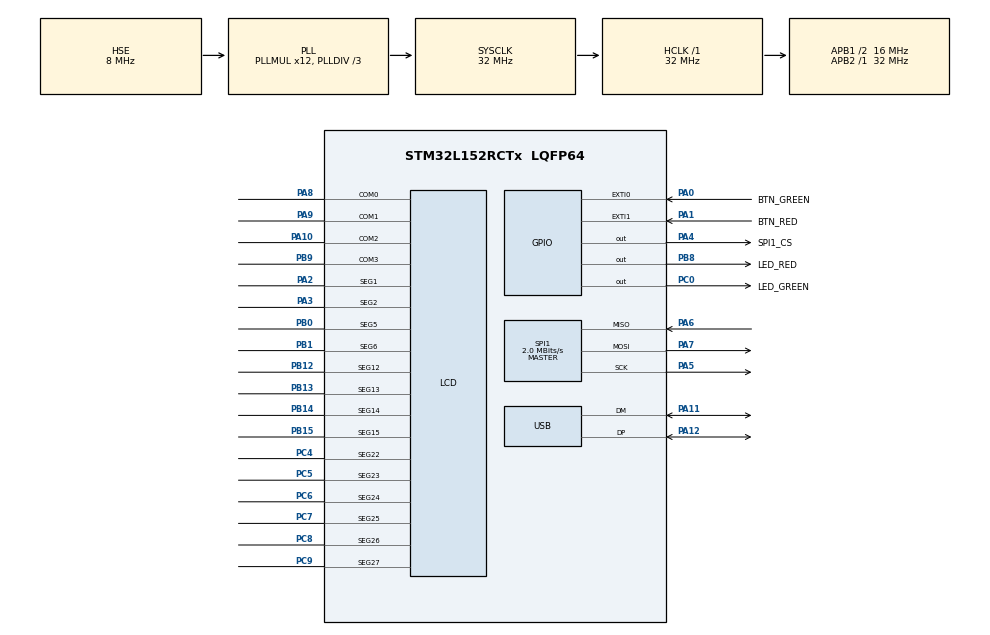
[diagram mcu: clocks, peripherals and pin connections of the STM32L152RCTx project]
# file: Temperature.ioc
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LCD.Bias=LCD_BIAS_1_3
LCD.Contrast=LCD_CONTRASTLEVEL_0
LCD.Prescaler=LCD_PRESCALER_16
Mcu.Family=STM32L1
Mcu.Name=STM32L152RCTx
Mcu.Package=LQFP64
NVIC.EXTI0_IRQn=true\:0\:0\:false\:false\:true\:true\:true\:true
NVIC.EXTI1_IRQn=true\:0\:0\:false\:false\:true\:true\:true\:true
NVIC.LCD_IRQn=true\:0\:0\:false\:false\:true\:true\:false\:true
NVIC.PriorityGroup=NVIC_PRIORITYGROUP_4
NVIC.RCC_IRQn=true\:0\:0\:false\:false\:true\:true\:false\:true
NVIC.SPI1_IRQn=true\:0\:0\:false\:false\:true\:true\:true\:true
NVIC.TIM2_IRQn=true\:0\:0\:false\:false\:true\:true\:true\:true
NVIC.TIM7_IRQn=true\:0\:0\:false\:false\:true\:true\:true\:true
NVIC.USB_HP_IRQn=true\:0\:0\:false\:false\:true\:true\:true\:true
NVIC.USB_LP_IRQn=true\:0\:0\:false\:false\:true\:true\:true\:true
PA0-WKUP1.GPIO_Label=BTN_GREEN
PA0-WKUP1.GPIO_ModeDefaultEXTI=GPIO_MODE_IT_FALLING
PA0-WKUP1.GPIO_PuPd=GPIO_PULLUP
PA0-WKUP1.Signal=GPXTI0
PA1.GPIO_Label=BTN_RED
PA1.GPIO_ModeDefaultEXTI=GPIO_MODE_IT_FALLING
PA1.GPIO_PuPd=GPIO_PULLUP
PA1.Signal=GPXTI1
PA10.Mode=1/4 Duty Cycle
PA10.Signal=LCD_COM2
PA11.Mode=Device
PA11.Signal=USB_DM
PA12.Mode=Device
PA12.Signal=USB_DP
PA2.Mode=SEG1
PA2.Signal=LCD_SEG1
PA3.Mode=SEG2
PA3.Signal=LCD_SEG2
PA4.GPIO_Label=SPI1_CS
PA4.GPIO_Speed=GPIO_SPEED_FREQ_VERY_HIGH
PA4.PinState=GPIO_PIN_SET
PA4.Signal=GPIO_Output
PA5.Mode=Full_Duplex_Master
PA5.Signal=SPI1_SCK
PA6.Mode=Full_Duplex_Master
PA6.Signal=SPI1_MISO
PA7.Mode=Full_Duplex_Master
PA7.Signal=SPI1_MOSI
PA8.Mode=1/4 Duty Cycle
PA8.Signal=LCD_COM0
PA9.Mode=1/4 Duty Cycle
PA9.Signal=LCD_COM1
PB0.Mode=SEG5
PB0.Signal=LCD_SEG5
PB1.Mode=SEG6
PB1.Signal=LCD_SEG6
PB12.Mode=SEG12
PB12.Signal=LCD_SEG12
PB13.Mode=SEG13
PB13.Signal=LCD_SEG13
PB14.Mode=SEG14
PB14.Signal=LCD_SEG14
PB15.Mode=SEG15
PB15.Signal=LCD_SEG15
PB8.GPIO_Label=LED_RED
PB8.Signal=GPIO_Output
PB9.Mode=1/4 Duty Cycle
PB9.Signal=LCD_COM3
PC0.GPIO_Label=LED_GREEN
PC0.Signal=GPIO_Output
PC14-OSC32_IN.Mode=LSE-External-Oscillator
PC14-OSC32_IN.Signal=RCC_OSC32_IN
PC15-OSC32_OUT.Mode=LSE-External-Oscillator
PC15-OSC32_OUT.Signal=RCC_OSC32_OUT
PC4.Mode=SEG22
PC4.Signal=LCD_SEG22
PC5.Mode=SEG23
PC5.Signal=LCD_SEG23
PC6.Mode=SEG24
PC6.Signal=LCD_SEG24
PC7.Mode=SEG25
PC7.Signal=LCD_SEG25
PC8.Mode=SEG26
PC8.Signal=LCD_SEG26
PC9.Mode=SEG27
PC9.Signal=LCD_SEG27
PH0-OSC_IN.Mode=HSE-External-Oscillator
PH0-OSC_IN.Signal=RCC_OSC_IN
PH1-OSC_OUT.Mode=HSE-External-Oscillator
PH1-OSC_OUT.Signal=RCC_OSC_OUT
ProjectManager.HeapSize=0x200
ProjectManager.StackSize=0x400
ProjectManager.TargetToolchain=CMake
RCC.48MHZClocksFreq_Value=48000000
RCC.AHBFreq_Value=32000000
RCC.APB1CLKDivider=RCC_HCLK_DIV2
RCC.APB1Freq_Value=16000000
RCC.APB1TimFreq_Value=32000000
RCC.APB2Freq_Value=32000000
RCC.APB2TimFreq_Value=32000000
RCC.HCLKFreq_Value=32000000
RCC.HSE_VALUE=8000000
RCC.HSI_VALUE=16000000
RCC.MSIClockRange=RCC_MSIRANGE_6
RCC.MSI_VALUE=4194000
RCC.PLLDIV=RCC_PLL_DIV3
RCC.PLLMUL=RCC_PLL_MUL12
RCC.RCC_RTC_Clock_Source_FROM_HSE=RCC_RTCCLKSOURCE_HSE_DIV16
RCC.RTCClockSelectionVirtual=RCC_RTCCLKSOURCE_LSE
RCC.SYSCLKFreq_VALUE=32000000
RCC.SYSCLKSource=RCC_SYSCLKSOURCE_PLLCLK
RCC.VCOOutputFreq_Value=96000000
RTC.Date=15
RTC.Format=RTC_FORMAT_BCD
RTC.Hours=13
RTC.Minutes=30
RTC.Month=RTC_MONTH_DECEMBER
RTC.WeekDay=RTC_WEEKDAY_SUNDAY
RTC.Year=25
SPI1.BaudRatePrescaler=SPI_BAUDRATEPRESCALER_16
SPI1.CalculateBaudRate=2.0 MBits/s
SPI1.Direction=SPI_DIRECTION_2LINES
SPI1.Mode=SPI_MODE_MASTER
SPI1.VirtualType=VM_MASTER
TIM2.Period=500
TIM2.Prescaler=32000-1
TIM7.AutoReloadPreload=TIM_AUTORELOAD_PRELOAD_ENABLE
TIM7.Period=1000
TIM7.Prescaler=32000
TIM7.TIM_MasterOutputTrigger=TIM_TRGO_ENABLE
USB_DEVICE.CLASS_NAME_FS=CDC
USB_DEVICE.VirtualMode=Cdc
USB_DEVICE.VirtualModeFS=Cdc_FS
VP_FATFS_VS_Generic.Mode=User_defined
VP_RTC_VS_RTC_Activate.Mode=RTC_Enabled
VP_RTC_VS_RTC_Calendar.Mode=RTC_Calendar
VP_TIM2_VS_ClockSourceINT.Mode=Internal
VP_TIM7_VS_ClockSourceINT.Mode=Enable_Timer
VP_USB_DEVICE_VS_USB_DEVICE_CDC_FS.Mode=CDC_FS
board=custom

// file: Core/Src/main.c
/* USER CODE BEGIN Header */
/**
  ******************************************************************************
  * @file           : main.c
  * @brief          : Main program body
  ******************************************************************************
  * @attention
  *
  * Copyright (c) 2025 STMicroelectronics.
  * All rights reserved.
  *
  * This software is licensed under terms that can be found in the LICENSE file
  * in the root directory of this software component.
  * If no LICENSE file comes with this software, it is provided AS-IS.
  *
  ******************************************************************************
  */
/* USER CODE END Header */
#include "main.h"
#include "fatfs.h"
#include "usb_device.h"

/* USER CODE BEGIN Includes */
#include "usbd_cdc.h"
#include "display.h"
#include "menu.h"
#include "clock.h"
#include "ee.h"
#include "spi_eeprom.h"
/* USER CODE END Includes */

/* USER CODE BEGIN PD */
#define USB_BUFLEN 512
/* USER CODE END PD */

LCD_HandleTypeDef hlcd;

RTC_HandleTypeDef hrtc;

SPI_HandleTypeDef hspi1;

TIM_HandleTypeDef htim2;
TIM_HandleTypeDef htim7;

/* USER CODE BEGIN PV */
uint8_t usbTxBuf[USB_BUFLEN];
uint16_t usbTxBufLen;

uint8_t usbRxBuf[USB_BUFLEN];
uint16_t usbRxBufLen;
uint8_t usbRxFlag = 0;
/* USER CODE END PV */

void SystemClock_Config(void);
static void MX_GPIO_Init(void);
static void MX_SPI1_Init(void);
static void MX_LCD_Init(void);
static void MX_TIM7_Init(void);
static void MX_RTC_Init(void);
static void MX_TIM2_Init(void);

/* USER CODE BEGIN 0 */
RTC_TimeTypeDef myTime;
RTC_DateTypeDef myDate;
uint32_t ID = 0;
uint8_t buffer[512];
uint8_t RxData[512];
bool isPressed = false;
uint32_t startPage = 0;
/* USER CODE END 0 */

int main(void)
{

  /* MCU Configuration--------------------------------------------------------*/

  /* Reset of all peripherals, Initializes the Flash interface and the Systick. */
  HAL_Init();

  /* Configure the system clock */
  SystemClock_Config();

  /* Initialize all configured peripherals */
  MX_GPIO_Init();
  MX_SPI1_Init();
  MX_LCD_Init();
  MX_USB_DEVICE_Init();
  MX_FATFS_Init();
  MX_TIM7_Init();
  MX_RTC_Init();
  MX_TIM2_Init();
  /* USER CODE BEGIN 2 */
  //initTime(hrtc);
  //initDisplay(hlcd);
  initMenu();
  HAL_TIM_Base_Start_IT(&htim2);
  ID = W25X_ReadID();
  /* USER CODE END 2 */

  /* Infinite loop */
  while (1)
  {

    /* USER CODE BEGIN 3 */
    if (usbRxFlag && usbRxBufLen) {
      uint32_t timeNowMS = HAL_GetTick();
      usbTxBufLen = snprintf((char*) usbTxBuf, USB_BUFLEN, "[%02lu:%02lu] %u\r\n", (timeNowMS/60000),(timeNowMS/1000) % 60, usbRxBufLen);
      CDC_Transmit_FS(usbTxBuf, usbTxBufLen);
      usbRxFlag = 0;
      usbRxBufLen = 0;
    }
    //testPress();
    if(isPressed) {
      W25X_ReadFast(startPage,0,512, RxData);
      usbTxBufLen = snprintf((char*) usbTxBuf, USB_BUFLEN, "%s", RxData);
      CDC_Transmit_FS(usbTxBuf, usbTxBufLen);
      if (startPage > 2048) {
        isPressed = false;
        startPage = 0;
        HAL_Delay(4000);
      }
      startPage++;
    }
  }
  /* USER CODE END 3 */
}

void SystemClock_Config(void)
{
  RCC_OscInitTypeDef RCC_OscInitStruct = {0};
  RCC_ClkInitTypeDef RCC_ClkInitStruct = {0};
  RCC_PeriphCLKInitTypeDef PeriphClkInit = {0};

  /** Configure the main internal regulator output voltage
  */
  __HAL_PWR_VOLTAGESCALING_CONFIG(PWR_REGULATOR_VOLTAGE_SCALE1);

  /** Initializes the RCC Oscillators according to the specified parameters
  * in the RCC_OscInitTypeDef structure.
  */
  RCC_OscInitStruct.OscillatorType = RCC_OSCILLATORTYPE_HSE|RCC_OSCILLATORTYPE_LSE;
  RCC_OscInitStruct.HSEState = RCC_HSE_ON;
  RCC_OscInitStruct.LSEState = RCC_LSE_ON;
  RCC_OscInitStruct.PLL.PLLState = RCC_PLL_ON;
  RCC_OscInitStruct.PLL.PLLSource = RCC_PLLSOURCE_HSE;
  RCC_OscInitStruct.PLL.PLLMUL = RCC_PLL_MUL12;
  RCC_OscInitStruct.PLL.PLLDIV = RCC_PLL_DIV3;
  if (HAL_RCC_OscConfig(&RCC_OscInitStruct) != HAL_OK)
  {
    Error_Handler();
  }

  /** Initializes the CPU, AHB and APB buses clocks
  */
  RCC_ClkInitStruct.ClockType = RCC_CLOCKTYPE_HCLK|RCC_CLOCKTYPE_SYSCLK
                              |RCC_CLOCKTYPE_PCLK1|RCC_CLOCKTYPE_PCLK2;
  RCC_ClkInitStruct.SYSCLKSource = RCC_SYSCLKSOURCE_PLLCLK;
  RCC_ClkInitStruct.AHBCLKDivider = RCC_SYSCLK_DIV1;
  RCC_ClkInitStruct.APB1CLKDivider = RCC_HCLK_DIV2;
  RCC_ClkInitStruct.APB2CLKDivider = RCC_HCLK_DIV1;

  if (HAL_RCC_ClockConfig(&RCC_ClkInitStruct, FLASH_LATENCY_1) != HAL_OK)
  {
    Error_Handler();
  }
  PeriphClkInit.PeriphClockSelection = RCC_PERIPHCLK_RTC|RCC_PERIPHCLK_LCD;
  PeriphClkInit.RTCClockSelection = RCC_RTCCLKSOURCE_LSE;
  PeriphClkInit.LCDClockSelection = RCC_RTCCLKSOURCE_LSE;

  if (HAL_RCCEx_PeriphCLKConfig(&PeriphClkInit) != HAL_OK)
  {
    Error_Handler();
  }
}

static void MX_LCD_Init(void)
{

  hlcd.Instance = LCD;
  hlcd.Init.Prescaler = LCD_PRESCALER_16;
  hlcd.Init.Divider = LCD_DIVIDER_16;
  hlcd.Init.Duty = LCD_DUTY_1_4;
  hlcd.Init.Bias = LCD_BIAS_1_3;
  hlcd.Init.VoltageSource = LCD_VOLTAGESOURCE_INTERNAL;
  hlcd.Init.Contrast = LCD_CONTRASTLEVEL_0;
  hlcd.Init.DeadTime = LCD_DEADTIME_0;
  hlcd.Init.PulseOnDuration = LCD_PULSEONDURATION_0;
  hlcd.Init.MuxSegment = LCD_MUXSEGMENT_DISABLE;
  hlcd.Init.BlinkMode = LCD_BLINKMODE_OFF;
  hlcd.Init.BlinkFrequency = LCD_BLINKFREQUENCY_DIV8;
  if (HAL_LCD_Init(&hlcd) != HAL_OK)
  {
    Error_Handler();
  }

}

static void MX_RTC_Init(void)
{

  RTC_TimeTypeDef sTime = {0};
  RTC_DateTypeDef sDate = {0};

  /** Initialize RTC Only
  */
  hrtc.Instance = RTC;
  hrtc.Init.HourFormat = RTC_HOURFORMAT_24;
  hrtc.Init.AsynchPrediv = 127;
  hrtc.Init.SynchPrediv = 255;
  hrtc.Init.OutPut = RTC_OUTPUT_DISABLE;
  hrtc.Init.OutPutPolarity = RTC_OUTPUT_POLARITY_HIGH;
  hrtc.Init.OutPutType = RTC_OUTPUT_TYPE_OPENDRAIN;
  if (HAL_RTC_Init(&hrtc) != HAL_OK)
  {
    Error_Handler();
  }

  /** Initialize RTC and set the Time and Date
  */
  sTime.Hours = 0x13;
  sTime.Minutes = 0x30;
  sTime.Seconds = 0x0;
  sTime.DayLightSaving = RTC_DAYLIGHTSAVING_NONE;
  sTime.StoreOperation = RTC_STOREOPERATION_RESET;
  if (HAL_RTC_SetTime(&hrtc, &sTime, RTC_FORMAT_BCD) != HAL_OK)
  {
    Error_Handler();
  }
  sDate.WeekDay = RTC_WEEKDAY_SUNDAY;
  sDate.Month = RTC_MONTH_DECEMBER;
  sDate.Date = 0x15;
  sDate.Year = 0x25;

  if (HAL_RTC_SetDate(&hrtc, &sDate, RTC_FORMAT_BCD) != HAL_OK)
  {
    Error_Handler();
  }

}

static void MX_SPI1_Init(void)
{

  /* SPI1 parameter configuration*/
  hspi1.Instance = SPI1;
  hspi1.Init.Mode = SPI_MODE_MASTER;
  hspi1.Init.Direction = SPI_DIRECTION_2LINES;
  hspi1.Init.DataSize = SPI_DATASIZE_8BIT;
  hspi1.Init.CLKPolarity = SPI_POLARITY_LOW;
  hspi1.Init.CLKPhase = SPI_PHASE_1EDGE;
  hspi1.Init.NSS = SPI_NSS_SOFT;
  hspi1.Init.BaudRatePrescaler = SPI_BAUDRATEPRESCALER_16;
  hspi1.Init.FirstBit = SPI_FIRSTBIT_MSB;
  hspi1.Init.TIMode = SPI_TIMODE_DISABLE;
  hspi1.Init.CRCCalculation = SPI_CRCCALCULATION_DISABLE;
  hspi1.Init.CRCPolynomial = 10;
  if (HAL_SPI_Init(&hspi1) != HAL_OK)
  {
    Error_Handler();
  }

}

static void MX_TIM2_Init(void)
{

  TIM_ClockConfigTypeDef sClockSourceConfig = {0};
  TIM_MasterConfigTypeDef sMasterConfig = {0};

  htim2.Instance = TIM2;
  htim2.Init.Prescaler = 32000-1;
  htim2.Init.CounterMode = TIM_COUNTERMODE_UP;
  htim2.Init.Period = 500;
  htim2.Init.ClockDivision = TIM_CLOCKDIVISION_DIV1;
  htim2.Init.AutoReloadPreload = TIM_AUTORELOAD_PRELOAD_DISABLE;
  if (HAL_TIM_Base_Init(&htim2) != HAL_OK)
  {
    Error_Handler();
  }
  sClockSourceConfig.ClockSource = TIM_CLOCKSOURCE_INTERNAL;
  if (HAL_TIM_ConfigClockSource(&htim2, &sClockSourceConfig) != HAL_OK)
  {
    Error_Handler();
  }
  sMasterConfig.MasterOutputTrigger = TIM_TRGO_RESET;
  sMasterConfig.MasterSlaveMode = TIM_MASTERSLAVEMODE_DISABLE;
  if (HAL_TIMEx_MasterConfigSynchronization(&htim2, &sMasterConfig) != HAL_OK)
  {
    Error_Handler();
  }

}

static void MX_TIM7_Init(void)
{

  TIM_MasterConfigTypeDef sMasterConfig = {0};

  htim7.Instance = TIM7;
  htim7.Init.Prescaler = 32000;
  htim7.Init.CounterMode = TIM_COUNTERMODE_UP;
  htim7.Init.Period = 1000;
  htim7.Init.AutoReloadPreload = TIM_AUTORELOAD_PRELOAD_ENABLE;
  if (HAL_TIM_Base_Init(&htim7) != HAL_OK)
  {
    Error_Handler();
  }
  sMasterConfig.MasterOutputTrigger = TIM_TRGO_ENABLE;
  sMasterConfig.MasterSlaveMode = TIM_MASTERSLAVEMODE_DISABLE;
  if (HAL_TIMEx_MasterConfigSynchronization(&htim7, &sMasterConfig) != HAL_OK)
  {
    Error_Handler();
  }

}

static void MX_GPIO_Init(void)
{
  GPIO_InitTypeDef GPIO_InitStruct = {0};

  /* GPIO Ports Clock Enable */
  __HAL_RCC_GPIOC_CLK_ENABLE();
  __HAL_RCC_GPIOH_CLK_ENABLE();
  __HAL_RCC_GPIOA_CLK_ENABLE();
  __HAL_RCC_GPIOB_CLK_ENABLE();

  /*Configure GPIO pin Output Level */
  HAL_GPIO_WritePin(LED_GREEN_GPIO_Port, LED_GREEN_Pin, GPIO_PIN_RESET);

  /*Configure GPIO pin Output Level */
  HAL_GPIO_WritePin(SPI1_CS_GPIO_Port, SPI1_CS_Pin, GPIO_PIN_SET);

  /*Configure GPIO pin Output Level */
  HAL_GPIO_WritePin(LED_RED_GPIO_Port, LED_RED_Pin, GPIO_PIN_RESET);

  /*Configure GPIO pin : LED_GREEN_Pin */
  GPIO_InitStruct.Pin = LED_GREEN_Pin;
  GPIO_InitStruct.Mode = GPIO_MODE_OUTPUT_PP;
  GPIO_InitStruct.Pull = GPIO_NOPULL;
  GPIO_InitStruct.Speed = GPIO_SPEED_FREQ_LOW;
  HAL_GPIO_Init(LED_GREEN_GPIO_Port, &GPIO_InitStruct);

  /*Configure GPIO pins : BTN_GREEN_Pin BTN_RED_Pin */
  GPIO_InitStruct.Pin = BTN_GREEN_Pin|BTN_RED_Pin;
  GPIO_InitStruct.Mode = GPIO_MODE_IT_FALLING;
  GPIO_InitStruct.Pull = GPIO_PULLUP;
  HAL_GPIO_Init(GPIOA, &GPIO_InitStruct);

  /*Configure GPIO pin : SPI1_CS_Pin */
  GPIO_InitStruct.Pin = SPI1_CS_Pin;
  GPIO_InitStruct.Mode = GPIO_MODE_OUTPUT_PP;
  GPIO_InitStruct.Pull = GPIO_NOPULL;
  GPIO_InitStruct.Speed = GPIO_SPEED_FREQ_VERY_HIGH;
  HAL_GPIO_Init(SPI1_CS_GPIO_Port, &GPIO_InitStruct);

  /*Configure GPIO pin : LED_RED_Pin */
  GPIO_InitStruct.Pin = LED_RED_Pin;
  GPIO_InitStruct.Mode = GPIO_MODE_OUTPUT_PP;
  GPIO_InitStruct.Pull = GPIO_NOPULL;
  GPIO_InitStruct.Speed = GPIO_SPEED_FREQ_LOW;
  HAL_GPIO_Init(LED_RED_GPIO_Port, &GPIO_InitStruct);

  /* EXTI interrupt init*/
  HAL_NVIC_SetPriority(EXTI0_IRQn, 0, 0);
  HAL_NVIC_EnableIRQ(EXTI0_IRQn);

  HAL_NVIC_SetPriority(EXTI1_IRQn, 0, 0);
  HAL_NVIC_EnableIRQ(EXTI1_IRQn);

}

/* USER CODE BEGIN 4 */
void HAL_GPIO_EXTI_Callback(uint16_t GPIO_Pin) {
  if (GPIO_Pin == BTN_GREEN_Pin) {
    //HAL_GPIO_TogglePin(LED_GREEN_GPIO_Port, LED_GREEN_Pin);
    if (ID == 0xef3013) {
        HAL_GPIO_TogglePin(LED_GREEN_GPIO_Port, LED_GREEN_Pin);
        isPressed = true;
    }
    greenMenuButton.buttonFlag.bit.B0 = SET;
  }
  if (GPIO_Pin == BTN_RED_Pin) {
    HAL_GPIO_TogglePin(LED_RED_GPIO_Port, LED_RED_Pin);
      redMenuButton.buttonFlag.bit.B0 = SET;
  }
}

void HAL_TIM_PeriodElapsedCallback(TIM_HandleTypeDef *htim) {
  if(htim -> Instance == TIM2) {
    HAL_GPIO_TogglePin(LED_RED_GPIO_Port, LED_RED_Pin);
    HAL_RTC_GetTime(&hrtc, &myTime, RTC_FORMAT_BCD);
    HAL_RTC_GetDate(&hrtc, &myDate, RTC_FORMAT_BCD);
    reloadDisplay(myDate, myTime);
  }
}

void USB_RXCallback(uint8_t* Buf, uint32_t *Len) {
  memcpy(usbRxBuf, Buf, *Len);
  usbRxBufLen = *Len;
  usbRxFlag = 1;
}

/* USER CODE END 4 */

void Error_Handler(void)
{
  __disable_irq();
  while (1)
  {
  }
}
